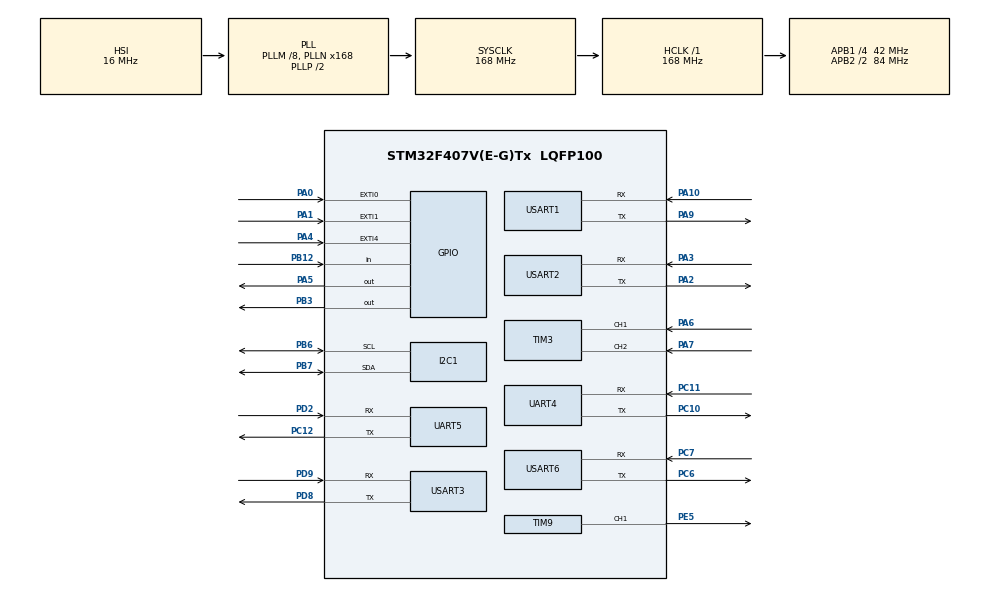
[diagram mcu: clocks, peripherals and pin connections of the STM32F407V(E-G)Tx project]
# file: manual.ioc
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Dma.Request0=USART3_RX
Dma.Request1=UART5_RX
Dma.Request2=USART1_RX
Dma.Request3=USART6_RX
Dma.UART5_RX.1.Direction=DMA_PERIPH_TO_MEMORY
Dma.UART5_RX.1.FIFOMode=DMA_FIFOMODE_DISABLE
Dma.UART5_RX.1.Instance=DMA1_Stream0
Dma.UART5_RX.1.MemDataAlignment=DMA_MDATAALIGN_BYTE
Dma.UART5_RX.1.MemInc=DMA_MINC_ENABLE
Dma.UART5_RX.1.Mode=DMA_NORMAL
Dma.UART5_RX.1.PeriphDataAlignment=DMA_PDATAALIGN_BYTE
Dma.UART5_RX.1.PeriphInc=DMA_PINC_DISABLE
Dma.UART5_RX.1.Priority=DMA_PRIORITY_LOW
Dma.USART1_RX.2.Direction=DMA_PERIPH_TO_MEMORY
Dma.USART1_RX.2.FIFOMode=DMA_FIFOMODE_DISABLE
Dma.USART1_RX.2.Instance=DMA2_Stream2
Dma.USART1_RX.2.MemDataAlignment=DMA_MDATAALIGN_BYTE
Dma.USART1_RX.2.MemInc=DMA_MINC_ENABLE
Dma.USART1_RX.2.Mode=DMA_NORMAL
Dma.USART1_RX.2.PeriphDataAlignment=DMA_PDATAALIGN_BYTE
Dma.USART1_RX.2.PeriphInc=DMA_PINC_DISABLE
Dma.USART1_RX.2.Priority=DMA_PRIORITY_LOW
Dma.USART3_RX.0.Direction=DMA_PERIPH_TO_MEMORY
Dma.USART3_RX.0.FIFOMode=DMA_FIFOMODE_DISABLE
Dma.USART3_RX.0.Instance=DMA1_Stream1
Dma.USART3_RX.0.MemDataAlignment=DMA_MDATAALIGN_BYTE
Dma.USART3_RX.0.MemInc=DMA_MINC_ENABLE
Dma.USART3_RX.0.Mode=DMA_NORMAL
Dma.USART3_RX.0.PeriphDataAlignment=DMA_PDATAALIGN_BYTE
Dma.USART3_RX.0.PeriphInc=DMA_PINC_DISABLE
Dma.USART3_RX.0.Priority=DMA_PRIORITY_LOW
Dma.USART6_RX.3.Direction=DMA_PERIPH_TO_MEMORY
Dma.USART6_RX.3.FIFOMode=DMA_FIFOMODE_DISABLE
Dma.USART6_RX.3.Instance=DMA2_Stream1
Dma.USART6_RX.3.MemDataAlignment=DMA_MDATAALIGN_BYTE
Dma.USART6_RX.3.MemInc=DMA_MINC_ENABLE
Dma.USART6_RX.3.Mode=DMA_NORMAL
Dma.USART6_RX.3.PeriphDataAlignment=DMA_PDATAALIGN_BYTE
Dma.USART6_RX.3.PeriphInc=DMA_PINC_DISABLE
Dma.USART6_RX.3.Priority=DMA_PRIORITY_LOW
FREERTOS.Tasks01=Task1,48,128,Task1_init,Default,NULL,Dynamic,NULL,NULL;Task2,16,128,Task2_init,Default,NULL,Dynamic,NULL,NULL
FREERTOS.configENABLE_FPU=1
I2C1.I2C_Mode=I2C_Fast
Mcu.Family=STM32F4
Mcu.Name=STM32F407V(E-G)Tx
Mcu.Package=LQFP100
NVIC.DMA1_Stream0_IRQn=true\:5\:0\:false\:false\:true\:true\:false\:true\:true
NVIC.DMA1_Stream1_IRQn=true\:5\:0\:false\:false\:true\:true\:false\:true\:true
NVIC.DMA2_Stream1_IRQn=true\:5\:0\:false\:false\:true\:true\:false\:true\:true
NVIC.DMA2_Stream2_IRQn=true\:5\:0\:false\:false\:true\:true\:false\:true\:true
NVIC.EXTI0_IRQn=true\:5\:0\:false\:false\:true\:true\:true\:true\:true
NVIC.EXTI1_IRQn=true\:5\:0\:false\:false\:true\:true\:true\:true\:true
NVIC.EXTI4_IRQn=true\:5\:0\:false\:false\:true\:true\:true\:true\:true
NVIC.FPU_IRQn=true\:5\:0\:false\:false\:true\:true\:true\:false\:true
NVIC.I2C1_ER_IRQn=true\:5\:0\:false\:false\:true\:true\:true\:true\:true
NVIC.I2C1_EV_IRQn=true\:5\:0\:false\:false\:true\:true\:true\:true\:true
NVIC.PriorityGroup=NVIC_PRIORITYGROUP_4
NVIC.TIM1_BRK_TIM9_IRQn=true\:5\:0\:false\:false\:true\:true\:true\:true\:true
NVIC.TIM2_IRQn=true\:5\:0\:false\:false\:true\:true\:true\:true\:true
NVIC.TIM3_IRQn=true\:5\:0\:false\:false\:true\:true\:true\:true\:true
NVIC.TIM6_DAC_IRQn=true\:5\:0\:true\:false\:true\:true\:true\:true\:true
NVIC.TIM7_IRQn=true\:5\:0\:false\:false\:true\:true\:true\:true\:true
NVIC.TIM8_TRG_COM_TIM14_IRQn=true\:15\:0\:false\:false\:true\:false\:false\:true\:true
NVIC.TimeBase=TIM8_TRG_COM_TIM14_IRQn
NVIC.TimeBaseIP=TIM14
NVIC.UART4_IRQn=true\:10\:0\:true\:false\:true\:true\:true\:true\:true
NVIC.UART5_IRQn=true\:10\:0\:true\:false\:true\:true\:true\:true\:true
NVIC.USART1_IRQn=true\:5\:0\:true\:false\:true\:true\:true\:true\:true
NVIC.USART2_IRQn=true\:10\:0\:true\:false\:true\:true\:true\:true\:true
NVIC.USART3_IRQn=true\:10\:0\:true\:false\:true\:true\:true\:true\:true
NVIC.USART6_IRQn=true\:10\:0\:true\:false\:true\:true\:true\:true\:true
PA0-WKUP.GPIO_ModeDefaultEXTI=GPIO_MODE_IT_FALLING
PA0-WKUP.GPIO_PuPd=GPIO_PULLUP
PA0-WKUP.Signal=GPXTI0
PA1.GPIO_ModeDefaultEXTI=GPIO_MODE_IT_FALLING
PA1.GPIO_PuPd=GPIO_PULLUP
PA1.Signal=GPXTI1
PA10.Mode=Asynchronous
PA10.Signal=USART1_RX
PA13.Mode=Serial_Wire
PA13.Signal=SYS_JTMS-SWDIO
PA14.Mode=Serial_Wire
PA14.Signal=SYS_JTCK-SWCLK
PA2.Mode=Asynchronous
PA2.Signal=USART2_TX
PA3.Mode=Asynchronous
PA3.Signal=USART2_RX
PA4.GPIO_ModeDefaultEXTI=GPIO_MODE_IT_FALLING
PA4.GPIO_PuPd=GPIO_PULLUP
PA4.Signal=GPXTI4
PA5.GPIO_Speed=GPIO_SPEED_FREQ_VERY_HIGH
PA5.Signal=GPIO_Output
PA6.GPIO_PuPd=GPIO_PULLUP
PA6.Signal=S_TIM3_CH1
PA7.GPIO_PuPd=GPIO_PULLUP
PA7.Signal=S_TIM3_CH2
PA9.Mode=Asynchronous
PA9.Signal=USART1_TX
PB12.GPIO_PuPd=GPIO_PULLUP
PB12.Signal=GPIO_Input
PB3.GPIO_Speed=GPIO_SPEED_FREQ_VERY_HIGH
PB3.Signal=GPIO_Output
PB6.Mode=I2C
PB6.Signal=I2C1_SCL
PB7.Mode=I2C
PB7.Signal=I2C1_SDA
PC10.Mode=Asynchronous
PC10.Signal=UART4_TX
PC11.Mode=Asynchronous
PC11.Signal=UART4_RX
PC12.Mode=Asynchronous
PC12.Signal=UART5_TX
PC14-OSC32_IN.Mode=LSE-External-Oscillator
PC14-OSC32_IN.Signal=RCC_OSC32_IN
PC15-OSC32_OUT.Mode=LSE-External-Oscillator
PC15-OSC32_OUT.Signal=RCC_OSC32_OUT
PC6.Mode=Asynchronous
PC6.Signal=USART6_TX
PC7.Mode=Asynchronous
PC7.Signal=USART6_RX
PD2.Mode=Asynchronous
PD2.Signal=UART5_RX
PD8.Mode=Asynchronous
PD8.Signal=USART3_TX
PD9.Mode=Asynchronous
PD9.Signal=USART3_RX
PE5.Signal=S_TIM9_CH1
PH0-OSC_IN.Mode=HSE-External-Oscillator
PH0-OSC_IN.Signal=RCC_OSC_IN
PH1-OSC_OUT.Mode=HSE-External-Oscillator
PH1-OSC_OUT.Signal=RCC_OSC_OUT
ProjectManager.HeapSize=0x200
ProjectManager.StackSize=0x400
ProjectManager.TargetToolchain=EWARM V8
RCC.48MHZClocksFreq_Value=84000000
RCC.AHBFreq_Value=168000000
RCC.APB1CLKDivider=RCC_HCLK_DIV4
RCC.APB1Freq_Value=42000000
RCC.APB1TimFreq_Value=84000000
RCC.APB2CLKDivider=RCC_HCLK_DIV2
RCC.APB2Freq_Value=84000000
RCC.APB2TimFreq_Value=168000000
RCC.CortexFreq_Value=168000000
RCC.HCLKFreq_Value=168000000
RCC.HSE_VALUE=25000000
RCC.HSI_VALUE=16000000
RCC.PLLM=8
RCC.PLLN=168
RCC.SYSCLKFreq_VALUE=168000000
RCC.SYSCLKSource=RCC_SYSCLKSOURCE_PLLCLK
RCC.VCOOutputFreq_Value=336000000
SH.S_TIM3_CH1.0=TIM3_CH1,Encoder_Interface
SH.S_TIM3_CH2.0=TIM3_CH2,Encoder_Interface
SH.S_TIM9_CH1.0=TIM9_CH1,PWM Generation1 CH1
TIM2.AutoReloadPreload=TIM_AUTORELOAD_PRELOAD_ENABLE
TIM2.Period=199
TIM2.Prescaler=167
TIM3.AutoReloadPreload=TIM_AUTORELOAD_PRELOAD_ENABLE
TIM3.EncoderMode=TIM_ENCODERMODE_TI12
TIM6.AutoReloadPreload=TIM_AUTORELOAD_PRELOAD_ENABLE
TIM6.Period=999
TIM6.Prescaler=167
TIM7.AutoReloadPreload=TIM_AUTORELOAD_PRELOAD_ENABLE
TIM7.Period=999
TIM7.Prescaler=167
TIM9.Channel-PWM\ Generation1\ CH1=TIM_CHANNEL_1
TIM9.Period=999
TIM9.Prescaler=3359
UART4.VirtualMode=Asynchronous
UART5.VirtualMode=Asynchronous
USART1.VirtualMode=VM_ASYNC
USART2.VirtualMode=VM_ASYNC
USART3.VirtualMode=VM_ASYNC
USART6.VirtualMode=VM_ASYNC
VP_FREERTOS_VS_CMSIS_V2.Mode=CMSIS_V2
VP_SYS_VS_tim14.Mode=TIM14
VP_TIM2_VS_ClockSourceINT.Mode=Internal
VP_TIM6_VS_ClockSourceINT.Mode=Enable_Timer
VP_TIM7_VS_ClockSourceINT.Mode=Enable_Timer
board=custom

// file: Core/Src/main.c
/* USER CODE BEGIN Header */
/**
  ******************************************************************************
  * @file           : main.c
  * @brief          : Main program body
  ******************************************************************************
  * @attention
  *
  * Copyright (c) 2024 STMicroelectronics.
  * All rights reserved.
  *
  * This software is licensed under terms that can be found in the LICENSE file
  * in the root directory of this software component.
  * If no LICENSE file comes with this software, it is provided AS-IS.
  *
  ******************************************************************************
  */
/* USER CODE END Header */
#include "main.h"
#include "cmsis_os.h"

/* USER CODE BEGIN Includes */
#include "tactic.h"
/* USER CODE END Includes */

I2C_HandleTypeDef hi2c1;

TIM_HandleTypeDef htim2;
TIM_HandleTypeDef htim3;
TIM_HandleTypeDef htim6;
TIM_HandleTypeDef htim7;
TIM_HandleTypeDef htim9;

UART_HandleTypeDef huart4;
UART_HandleTypeDef huart5;
UART_HandleTypeDef huart1;
UART_HandleTypeDef huart2;
UART_HandleTypeDef huart3;
UART_HandleTypeDef huart6;
DMA_HandleTypeDef hdma_uart5_rx;
DMA_HandleTypeDef hdma_usart1_rx;
DMA_HandleTypeDef hdma_usart3_rx;
DMA_HandleTypeDef hdma_usart6_rx;

/* Definitions for Task1 */

int32_t buff_tmp[6];

osThreadId_t Task1Handle;
const osThreadAttr_t Task1_attributes = {
  .name = "Task1",
  .stack_size = 128 * 4,
  .priority = (osPriority_t) osPriorityRealtime,
};
/* Definitions for Task2 */
osThreadId_t Task2Handle;
const osThreadAttr_t Task2_attributes = {
  .name = "Task2",
  .stack_size = 128 * 4,
  .priority = (osPriority_t) osPriorityBelowNormal,
};

void SystemClock_Config(void);
static void MX_GPIO_Init(void);
static void MX_DMA_Init(void);
static void MX_I2C1_Init(void);
static void MX_TIM6_Init(void);
static void MX_TIM7_Init(void);
static void MX_UART4_Init(void);
static void MX_UART5_Init(void);
static void MX_USART1_UART_Init(void);
static void MX_USART2_UART_Init(void);
static void MX_USART3_UART_Init(void);
static void MX_USART6_UART_Init(void);
static void MX_TIM3_Init(void);
static void MX_TIM2_Init(void);
static void MX_TIM9_Init(void);
void Task1_init(void *argument);
void Task2_init(void *argument);

/* USER CODE BEGIN 0 */
uint8_t run;
void HAL_UARTEx_RxEventCallback(UART_HandleTypeDef *huart, uint16_t Size)
{
  if(huart->Instance==USART1)
  {

  }
 if(huart->Instance==USART3)
 {
    Lazer_Return_2();
 }
 if(huart->Instance==UART5)
 {
    Lazer_Return_1();
 }
 if(huart->Instance==USART6)
 {
    Screen_Return();
 }
}
/* USER CODE END 0 */

int main(void)
{

  /* MCU Configuration--------------------------------------------------------*/

  /* Reset of all peripherals, Initializes the Flash interface and the Systick. */
  HAL_Init();

  /* Configure the system clock */
  SystemClock_Config();

  /* Initialize all configured peripherals */
  MX_GPIO_Init();
  MX_DMA_Init();
  MX_I2C1_Init();
  MX_TIM6_Init();
  MX_TIM7_Init();
  MX_UART4_Init();
  MX_UART5_Init();
  MX_USART1_UART_Init();
  MX_USART2_UART_Init();
  MX_USART3_UART_Init();
  MX_USART6_UART_Init();
  MX_TIM3_Init();
  MX_TIM2_Init();
  MX_TIM9_Init();
  /* USER CODE BEGIN 2 */
  HAL_TIM_Base_Start_IT(&htim6);
  HAL_TIM_Base_Start_IT(&htim7);

  HAL_TIM_PWM_Start(&htim9,TIM_CHANNEL_1);
  Encoder_Init();
  Modbus_Init(&huart2);
  DC_Servo_Driver_UART_Init();
  Dc_servo_driver_msb_init(&huart1);
  DC_Servo_Driver_UART_MSD_Restart_Driver(1);
  DC_Servo_Driver_UART_MSD_Moving_Stop(1);
  DC_Servo_Driver_UART_MSD_Moving_Start(1);
  DC_Servo_Driver_UART_MSD_Restart_Driver(2);
  DC_Servo_Driver_UART_MSD_Moving_Stop(2);
  DC_Servo_Driver_UART_MSD_Moving_Start(2);
  HAL_Delay(1000);
  /* USER CODE END 2 */

  /* Init scheduler */
  osKernelInitialize();

  /* Create the thread(s) */
  /* creation of Task1 */
  Task1Handle = osThreadNew(Task1_init, NULL, &Task1_attributes);

  /* creation of Task2 */
  Task2Handle = osThreadNew(Task2_init, NULL, &Task2_attributes);

  /* Start scheduler */
  osKernelStart();

  /* We should never get here as control is now taken by the scheduler */
  /* Infinite loop */
  while (1)
  {

  }
}

void SystemClock_Config(void)
{
  RCC_OscInitTypeDef RCC_OscInitStruct = {0};
  RCC_ClkInitTypeDef RCC_ClkInitStruct = {0};

  /** Configure the main internal regulator output voltage
  */
  __HAL_RCC_PWR_CLK_ENABLE();
  __HAL_PWR_VOLTAGESCALING_CONFIG(PWR_REGULATOR_VOLTAGE_SCALE1);

  /** Initializes the RCC Oscillators according to the specified parameters
  * in the RCC_OscInitTypeDef structure.
  */
  RCC_OscInitStruct.OscillatorType = RCC_OSCILLATORTYPE_HSI;
  RCC_OscInitStruct.HSIState = RCC_HSI_ON;
  RCC_OscInitStruct.HSICalibrationValue = RCC_HSICALIBRATION_DEFAULT;
  RCC_OscInitStruct.PLL.PLLState = RCC_PLL_ON;
  RCC_OscInitStruct.PLL.PLLSource = RCC_PLLSOURCE_HSI;
  RCC_OscInitStruct.PLL.PLLM = 8;
  RCC_OscInitStruct.PLL.PLLN = 168;
  RCC_OscInitStruct.PLL.PLLP = RCC_PLLP_DIV2;
  RCC_OscInitStruct.PLL.PLLQ = 4;
  if (HAL_RCC_OscConfig(&RCC_OscInitStruct) != HAL_OK)
  {
    Error_Handler();
  }

  /** Initializes the CPU, AHB and APB buses clocks
  */
  RCC_ClkInitStruct.ClockType = RCC_CLOCKTYPE_HCLK|RCC_CLOCKTYPE_SYSCLK
                              |RCC_CLOCKTYPE_PCLK1|RCC_CLOCKTYPE_PCLK2;
  RCC_ClkInitStruct.SYSCLKSource = RCC_SYSCLKSOURCE_PLLCLK;
  RCC_ClkInitStruct.AHBCLKDivider = RCC_SYSCLK_DIV1;
  RCC_ClkInitStruct.APB1CLKDivider = RCC_HCLK_DIV4;
  RCC_ClkInitStruct.APB2CLKDivider = RCC_HCLK_DIV2;

  if (HAL_RCC_ClockConfig(&RCC_ClkInitStruct, FLASH_LATENCY_5) != HAL_OK)
  {
    Error_Handler();
  }
}

static void MX_I2C1_Init(void)
{

  hi2c1.Instance = I2C1;
  hi2c1.Init.ClockSpeed = 400000;
  hi2c1.Init.DutyCycle = I2C_DUTYCYCLE_2;
  hi2c1.Init.OwnAddress1 = 0;
  hi2c1.Init.AddressingMode = I2C_ADDRESSINGMODE_7BIT;
  hi2c1.Init.DualAddressMode = I2C_DUALADDRESS_DISABLE;
  hi2c1.Init.OwnAddress2 = 0;
  hi2c1.Init.GeneralCallMode = I2C_GENERALCALL_DISABLE;
  hi2c1.Init.NoStretchMode = I2C_NOSTRETCH_DISABLE;
  if (HAL_I2C_Init(&hi2c1) != HAL_OK)
  {
    Error_Handler();
  }

}

static void MX_TIM2_Init(void)
{

  TIM_ClockConfigTypeDef sClockSourceConfig = {0};
  TIM_MasterConfigTypeDef sMasterConfig = {0};

  htim2.Instance = TIM2;
  htim2.Init.Prescaler = 167;
  htim2.Init.CounterMode = TIM_COUNTERMODE_UP;
  htim2.Init.Period = 199;
  htim2.Init.ClockDivision = TIM_CLOCKDIVISION_DIV1;
  htim2.Init.AutoReloadPreload = TIM_AUTORELOAD_PRELOAD_ENABLE;
  if (HAL_TIM_Base_Init(&htim2) != HAL_OK)
  {
    Error_Handler();
  }
  sClockSourceConfig.ClockSource = TIM_CLOCKSOURCE_INTERNAL;
  if (HAL_TIM_ConfigClockSource(&htim2, &sClockSourceConfig) != HAL_OK)
  {
    Error_Handler();
  }
  sMasterConfig.MasterOutputTrigger = TIM_TRGO_RESET;
  sMasterConfig.MasterSlaveMode = TIM_MASTERSLAVEMODE_DISABLE;
  if (HAL_TIMEx_MasterConfigSynchronization(&htim2, &sMasterConfig) != HAL_OK)
  {
    Error_Handler();
  }

}

static void MX_TIM3_Init(void)
{

  TIM_Encoder_InitTypeDef sConfig = {0};
  TIM_MasterConfigTypeDef sMasterConfig = {0};

  htim3.Instance = TIM3;
  htim3.Init.Prescaler = 0;
  htim3.Init.CounterMode = TIM_COUNTERMODE_UP;
  htim3.Init.Period = 65535;
  htim3.Init.ClockDivision = TIM_CLOCKDIVISION_DIV1;
  htim3.Init.AutoReloadPreload = TIM_AUTORELOAD_PRELOAD_ENABLE;
  sConfig.EncoderMode = TIM_ENCODERMODE_TI12;
  sConfig.IC1Polarity = TIM_ICPOLARITY_RISING;
  sConfig.IC1Selection = TIM_ICSELECTION_DIRECTTI;
  sConfig.IC1Prescaler = TIM_ICPSC_DIV1;
  sConfig.IC1Filter = 0;
  sConfig.IC2Polarity = TIM_ICPOLARITY_RISING;
  sConfig.IC2Selection = TIM_ICSELECTION_DIRECTTI;
  sConfig.IC2Prescaler = TIM_ICPSC_DIV1;
  sConfig.IC2Filter = 0;
  if (HAL_TIM_Encoder_Init(&htim3, &sConfig) != HAL_OK)
  {
    Error_Handler();
  }
  sMasterConfig.MasterOutputTrigger = TIM_TRGO_RESET;
  sMasterConfig.MasterSlaveMode = TIM_MASTERSLAVEMODE_DISABLE;
  if (HAL_TIMEx_MasterConfigSynchronization(&htim3, &sMasterConfig) != HAL_OK)
  {
    Error_Handler();
  }

}

static void MX_TIM6_Init(void)
{

  TIM_MasterConfigTypeDef sMasterConfig = {0};

  htim6.Instance = TIM6;
  htim6.Init.Prescaler = 167;
  htim6.Init.CounterMode = TIM_COUNTERMODE_UP;
  htim6.Init.Period = 999;
  htim6.Init.AutoReloadPreload = TIM_AUTORELOAD_PRELOAD_ENABLE;
  if (HAL_TIM_Base_Init(&htim6) != HAL_OK)
  {
    Error_Handler();
  }
  sMasterConfig.MasterOutputTrigger = TIM_TRGO_RESET;
  sMasterConfig.MasterSlaveMode = TIM_MASTERSLAVEMODE_DISABLE;
  if (HAL_TIMEx_MasterConfigSynchronization(&htim6, &sMasterConfig) != HAL_OK)
  {
    Error_Handler();
  }

}

static void MX_TIM7_Init(void)
{

  TIM_MasterConfigTypeDef sMasterConfig = {0};

  htim7.Instance = TIM7;
  htim7.Init.Prescaler = 167;
  htim7.Init.CounterMode = TIM_COUNTERMODE_UP;
  htim7.Init.Period = 999;
  htim7.Init.AutoReloadPreload = TIM_AUTORELOAD_PRELOAD_ENABLE;
  if (HAL_TIM_Base_Init(&htim7) != HAL_OK)
  {
    Error_Handler();
  }
  sMasterConfig.MasterOutputTrigger = TIM_TRGO_RESET;
  sMasterConfig.MasterSlaveMode = TIM_MASTERSLAVEMODE_DISABLE;
  if (HAL_TIMEx_MasterConfigSynchronization(&htim7, &sMasterConfig) != HAL_OK)
  {
    Error_Handler();
  }

}

static void MX_TIM9_Init(void)
{

  TIM_OC_InitTypeDef sConfigOC = {0};

  htim9.Instance = TIM9;
  htim9.Init.Prescaler = 3359;
  htim9.Init.CounterMode = TIM_COUNTERMODE_UP;
  htim9.Init.Period = 999;
  htim9.Init.ClockDivision = TIM_CLOCKDIVISION_DIV1;
  htim9.Init.AutoReloadPreload = TIM_AUTORELOAD_PRELOAD_DISABLE;
  if (HAL_TIM_PWM_Init(&htim9) != HAL_OK)
  {
    Error_Handler();
  }
  sConfigOC.OCMode = TIM_OCMODE_PWM1;
  sConfigOC.Pulse = 0;
  sConfigOC.OCPolarity = TIM_OCPOLARITY_HIGH;
  sConfigOC.OCFastMode = TIM_OCFAST_DISABLE;
  if (HAL_TIM_PWM_ConfigChannel(&htim9, &sConfigOC, TIM_CHANNEL_1) != HAL_OK)
  {
    Error_Handler();
  }
  HAL_TIM_MspPostInit(&htim9);

}

static void MX_UART4_Init(void)
{

  huart4.Instance = UART4;
  huart4.Init.BaudRate = 115200;
  huart4.Init.WordLength = UART_WORDLENGTH_8B;
  huart4.Init.StopBits = UART_STOPBITS_1;
  huart4.Init.Parity = UART_PARITY_NONE;
  huart4.Init.Mode = UART_MODE_TX_RX;
  huart4.Init.HwFlowCtl = UART_HWCONTROL_NONE;
  huart4.Init.OverSampling = UART_OVERSAMPLING_16;
  if (HAL_UART_Init(&huart4) != HAL_OK)
  {
    Error_Handler();
  }

}

static void MX_UART5_Init(void)
{

  huart5.Instance = UART5;
  huart5.Init.BaudRate = 115200;
  huart5.Init.WordLength = UART_WORDLENGTH_8B;
  huart5.Init.StopBits = UART_STOPBITS_1;
  huart5.Init.Parity = UART_PARITY_NONE;
  huart5.Init.Mode = UART_MODE_TX_RX;
  huart5.Init.HwFlowCtl = UART_HWCONTROL_NONE;
  huart5.Init.OverSampling = UART_OVERSAMPLING_16;
  if (HAL_UART_Init(&huart5) != HAL_OK)
  {
    Error_Handler();
  }

}

static void MX_USART1_UART_Init(void)
{

  huart1.Instance = USART1;
  huart1.Init.BaudRate = 115200;
  huart1.Init.WordLength = UART_WORDLENGTH_8B;
  huart1.Init.StopBits = UART_STOPBITS_1;
  huart1.Init.Parity = UART_PARITY_NONE;
  huart1.Init.Mode = UART_MODE_TX_RX;
  huart1.Init.HwFlowCtl = UART_HWCONTROL_NONE;
  huart1.Init.OverSampling = UART_OVERSAMPLING_16;
  if (HAL_UART_Init(&huart1) != HAL_OK)
  {
    Error_Handler();
  }

}

static void MX_USART2_UART_Init(void)
{

  huart2.Instance = USART2;
  huart2.Init.BaudRate = 115200;
  huart2.Init.WordLength = UART_WORDLENGTH_8B;
  huart2.Init.StopBits = UART_STOPBITS_1;
  huart2.Init.Parity = UART_PARITY_NONE;
  huart2.Init.Mode = UART_MODE_TX_RX;
  huart2.Init.HwFlowCtl = UART_HWCONTROL_NONE;
  huart2.Init.OverSampling = UART_OVERSAMPLING_16;
  if (HAL_UART_Init(&huart2) != HAL_OK)
  {
    Error_Handler();
  }

}

static void MX_USART3_UART_Init(void)
{

  huart3.Instance = USART3;
  huart3.Init.BaudRate = 115200;
  huart3.Init.WordLength = UART_WORDLENGTH_8B;
  huart3.Init.StopBits = UART_STOPBITS_1;
  huart3.Init.Parity = UART_PARITY_NONE;
  huart3.Init.Mode = UART_MODE_TX_RX;
  huart3.Init.HwFlowCtl = UART_HWCONTROL_NONE;
  huart3.Init.OverSampling = UART_OVERSAMPLING_16;
  if (HAL_UART_Init(&huart3) != HAL_OK)
  {
    Error_Handler();
  }

}

static void MX_USART6_UART_Init(void)
{

  huart6.Instance = USART6;
  huart6.Init.BaudRate = 115200;
  huart6.Init.WordLength = UART_WORDLENGTH_8B;
  huart6.Init.StopBits = UART_STOPBITS_1;
  huart6.Init.Parity = UART_PARITY_NONE;
  huart6.Init.Mode = UART_MODE_TX_RX;
  huart6.Init.HwFlowCtl = UART_HWCONTROL_NONE;
  huart6.Init.OverSampling = UART_OVERSAMPLING_16;
  if (HAL_UART_Init(&huart6) != HAL_OK)
  {
    Error_Handler();
  }

}

static void MX_DMA_Init(void)
{

  /* DMA controller clock enable */
  __HAL_RCC_DMA1_CLK_ENABLE();
  __HAL_RCC_DMA2_CLK_ENABLE();

  /* DMA interrupt init */
  /* DMA1_Stream0_IRQn interrupt configuration */
  HAL_NVIC_SetPriority(DMA1_Stream0_IRQn, 5, 0);
  HAL_NVIC_EnableIRQ(DMA1_Stream0_IRQn);
  /* DMA1_Stream1_IRQn interrupt configuration */
  HAL_NVIC_SetPriority(DMA1_Stream1_IRQn, 5, 0);
  HAL_NVIC_EnableIRQ(DMA1_Stream1_IRQn);
  /* DMA2_Stream1_IRQn interrupt configuration */
  HAL_NVIC_SetPriority(DMA2_Stream1_IRQn, 5, 0);
  HAL_NVIC_EnableIRQ(DMA2_Stream1_IRQn);
  /* DMA2_Stream2_IRQn interrupt configuration */
  HAL_NVIC_SetPriority(DMA2_Stream2_IRQn, 5, 0);
  HAL_NVIC_EnableIRQ(DMA2_Stream2_IRQn);

}

static void MX_GPIO_Init(void)
{
  GPIO_InitTypeDef GPIO_InitStruct = {0};

  /* GPIO Ports Clock Enable */
  __HAL_RCC_GPIOE_CLK_ENABLE();
  __HAL_RCC_GPIOC_CLK_ENABLE();
  __HAL_RCC_GPIOH_CLK_ENABLE();
  __HAL_RCC_GPIOA_CLK_ENABLE();
  __HAL_RCC_GPIOB_CLK_ENABLE();
  __HAL_RCC_GPIOD_CLK_ENABLE();

  /*Configure GPIO pin Output Level */
  HAL_GPIO_WritePin(GPIOA, GPIO_PIN_5, GPIO_PIN_RESET);

  /*Configure GPIO pin Output Level */
  HAL_GPIO_WritePin(GPIOB, GPIO_PIN_3, GPIO_PIN_RESET);

  /*Configure GPIO pins : PA0 PA1 PA4 */
  GPIO_InitStruct.Pin = GPIO_PIN_0|GPIO_PIN_1|GPIO_PIN_4;
  GPIO_InitStruct.Mode = GPIO_MODE_IT_FALLING;
  GPIO_InitStruct.Pull = GPIO_PULLUP;
  HAL_GPIO_Init(GPIOA, &GPIO_InitStruct);

  /*Configure GPIO pin : PA5 */
  GPIO_InitStruct.Pin = GPIO_PIN_5;
  GPIO_InitStruct.Mode = GPIO_MODE_OUTPUT_PP;
  GPIO_InitStruct.Pull = GPIO_NOPULL;
  GPIO_InitStruct.Speed = GPIO_SPEED_FREQ_VERY_HIGH;
  HAL_GPIO_Init(GPIOA, &GPIO_InitStruct);

  /*Configure GPIO pin : PB12 */
  GPIO_InitStruct.Pin = GPIO_PIN_12;
  GPIO_InitStruct.Mode = GPIO_MODE_INPUT;
  GPIO_InitStruct.Pull = GPIO_PULLUP;
  HAL_GPIO_Init(GPIOB, &GPIO_InitStruct);

  /*Configure GPIO pin : PB3 */
  GPIO_InitStruct.Pin = GPIO_PIN_3;
  GPIO_InitStruct.Mode = GPIO_MODE_OUTPUT_PP;
  GPIO_InitStruct.Pull = GPIO_NOPULL;
  GPIO_InitStruct.Speed = GPIO_SPEED_FREQ_VERY_HIGH;
  HAL_GPIO_Init(GPIOB, &GPIO_InitStruct);

  /* EXTI interrupt init*/
  HAL_NVIC_SetPriority(EXTI0_IRQn, 5, 0);
  HAL_NVIC_EnableIRQ(EXTI0_IRQn);

  HAL_NVIC_SetPriority(EXTI1_IRQn, 5, 0);
  HAL_NVIC_EnableIRQ(EXTI1_IRQn);

  HAL_NVIC_SetPriority(EXTI4_IRQn, 5, 0);
  HAL_NVIC_EnableIRQ(EXTI4_IRQn);

}

void Task1_init(void *argument)
{
  /* USER CODE BEGIN 5 */
  /* Infinite loop */
  Lazer_Init();
  Screen_Init();
  imu_init();
   imu_calib();
  imu_reset();
  Robot_Moving_Init();

  for(;;)
  {

    if(Robot.isRunning==1)
    {
      robotMovingHandleOutput();

    }

    home();
    osDelay(1);
  }
  /* USER CODE END 5 */
}

void Task2_init(void *argument)
{
  /* USER CODE BEGIN Task2_init */
  /* Infinite loop */

  for(;;)
  {
    if(HAL_GPIO_ReadPin(GPIOB,GPIO_PIN_12)==0)
    {
        run=1;
    }
    if(run==1)
    {
        running_process();
    }
    osDelay(1);
  }
  /* USER CODE END Task2_init */
}

void HAL_TIM_PeriodElapsedCallback(TIM_HandleTypeDef *htim)
{
  /* USER CODE BEGIN Callback 0 */

  if (htim->Instance == TIM6)
  {
    Robot.Moving.Rotary.Current=imu_return();
  }
  if (htim->Instance == TIM7)
  {

  }
  /* USER CODE END Callback 0 */
  if (htim->Instance == TIM14) {
    HAL_IncTick();
  }
}

void Error_Handler(void)
{
  __disable_irq();
  while (1)
  {
  }
}
